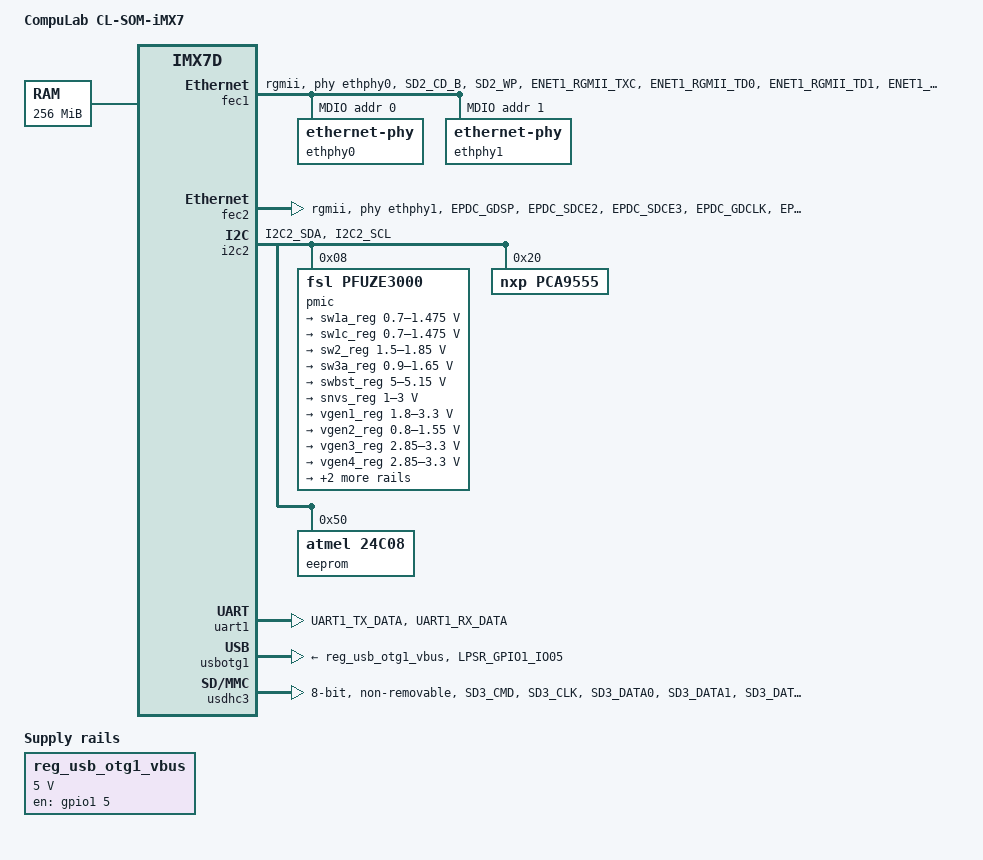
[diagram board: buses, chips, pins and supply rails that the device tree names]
/*
 * Support for CompuLab CL-SOM-iMX7 System-on-Module
 *
 * Copyright (C) 2015 CompuLab Ltd. - http://www.compulab.co.il/
 * Author: Ilya Ledvich <ilya@compulab.co.il>
 *
 * This file is dual-licensed: you can use it either under the terms
 * of the GPL or the X11 license, at your option. Note that this dual
 * licensing only applies to this file, and not this project as a
 * whole.
 */

/dts-v1/;

#include "imx7d.dtsi"

/ {
	model = "CompuLab CL-SOM-iMX7";
	compatible = "compulab,cl-som-imx7", "fsl,imx7d";

	memory {
		reg = <0x80000000 0x10000000>; /* 256 MB - minimal configuration */
	};

	reg_usb_otg1_vbus: regulator-vbus {
		compatible = "regulator-fixed";
		regulator-name = "usb_otg1_vbus";
		regulator-min-microvolt = <5000000>;
		regulator-max-microvolt = <5000000>;
		gpio = <&gpio1 5 GPIO_ACTIVE_HIGH>;
		enable-active-high;
	};
};

&cpu0 {
	arm-supply = <&sw1a_reg>;
};

&fec1 {
	pinctrl-names = "default";
	pinctrl-0 = <&pinctrl_enet1>;
	assigned-clocks = <&clks IMX7D_ENET1_TIME_ROOT_SRC>,
			  <&clks IMX7D_ENET1_TIME_ROOT_CLK>;
	assigned-clock-parents = <&clks IMX7D_PLL_ENET_MAIN_100M_CLK>;
	assigned-clock-rates = <0>, <100000000>;
	phy-mode = "rgmii";
	phy-handle = <&ethphy0>;
	fsl,magic-packet;
	status = "okay";

	mdio {
		#address-cells = <1>;
		#size-cells = <0>;

		ethphy0: ethernet-phy@0 {
			reg = <0>;
		};

		ethphy1: ethernet-phy@1 {
			reg = <1>;
		};
	};
};

&fec2 {
	pinctrl-names = "default";
	pinctrl-0 = <&pinctrl_enet2>;
	assigned-clocks = <&clks IMX7D_ENET2_TIME_ROOT_SRC>,
			  <&clks IMX7D_ENET2_TIME_ROOT_CLK>;
	assigned-clock-parents = <&clks IMX7D_PLL_ENET_MAIN_100M_CLK>;
	assigned-clock-rates = <0>, <100000000>;
	phy-mode = "rgmii";
	phy-handle = <&ethphy1>;
	fsl,magic-packet;
	status = "okay";
};

&i2c2 {
	pinctrl-names = "default";
	pinctrl-0 = <&pinctrl_i2c2>;
	status = "okay";

	pmic: pmic@8 {
		compatible = "fsl,pfuze3000";
		reg = <0x08>;

		regulators {
			sw1a_reg: sw1a {
				regulator-min-microvolt = <700000>;
				regulator-max-microvolt = <1475000>;
				regulator-boot-on;
				regulator-always-on;
				regulator-ramp-delay = <6250>;
			};

			/* use sw1c_reg to align with pfuze100/pfuze200 */
			sw1c_reg: sw1b {
				regulator-min-microvolt = <700000>;
				regulator-max-microvolt = <1475000>;
				regulator-boot-on;
				regulator-always-on;
				regulator-ramp-delay = <6250>;
			};

			sw2_reg: sw2 {
				regulator-min-microvolt = <1500000>;
				regulator-max-microvolt = <1850000>;
				regulator-boot-on;
				regulator-always-on;
			};

			sw3a_reg: sw3 {
				regulator-min-microvolt = <900000>;
				regulator-max-microvolt = <1650000>;
				regulator-boot-on;
				regulator-always-on;
			};

			swbst_reg: swbst {
				regulator-min-microvolt = <5000000>;
				regulator-max-microvolt = <5150000>;
			};

			snvs_reg: vsnvs {
				regulator-min-microvolt = <1000000>;
				regulator-max-microvolt = <3000000>;
				regulator-boot-on;
				regulator-always-on;
			};

			vref_reg: vrefddr {
				regulator-boot-on;
				regulator-always-on;
			};

			vgen1_reg: vldo1 {
				regulator-min-microvolt = <1800000>;
				regulator-max-microvolt = <3300000>;
				regulator-always-on;
			};

			vgen2_reg: vldo2 {
				regulator-min-microvolt = <800000>;
				regulator-max-microvolt = <1550000>;
			};

			vgen3_reg: vccsd {
				regulator-min-microvolt = <2850000>;
				regulator-max-microvolt = <3300000>;
				regulator-always-on;
			};

			vgen4_reg: v33 {
				regulator-min-microvolt = <2850000>;
				regulator-max-microvolt = <3300000>;
				regulator-always-on;
			};

			vgen5_reg: vldo3 {
				regulator-min-microvolt = <1800000>;
				regulator-max-microvolt = <3300000>;
				regulator-always-on;
			};

			vgen6_reg: vldo4 {
				regulator-min-microvolt = <1800000>;
				regulator-max-microvolt = <3300000>;
				regulator-always-on;
			};
		};
	};

	pca9555: pca9555@20 {
		compatible = "nxp,pca9555";
		gpio-controller;
		#gpio-cells = <2>;
		reg = <0x20>;
	};

	eeprom@50 {
		compatible = "atmel,24c08";
		reg = <0x50>;
		pagesize = <16>;
	};
};

&uart1 {
	pinctrl-names = "default";
	pinctrl-0 = <&pinctrl_uart1>;
	assigned-clocks = <&clks IMX7D_UART1_ROOT_SRC>;
	assigned-clock-parents = <&clks IMX7D_PLL_SYS_MAIN_240M_CLK>;
	status = "okay";
};

&usbotg1 {
	pinctrl-names = "default";
	pinctrl-0 = <&pinctrl_usbotg1>;
	vbus-supply = <&reg_usb_otg1_vbus>;
	status = "okay";
};

&usdhc3 {
	pinctrl-names = "default";
	pinctrl-0 = <&pinctrl_usdhc3>;
	assigned-clocks = <&clks IMX7D_USDHC3_ROOT_CLK>;
	assigned-clock-rates = <400000000>;
	bus-width = <8>;
	fsl,tuning-step = <2>;
	non-removable;
	status = "okay";
};

&iomuxc {
	pinctrl_enet1: enet1grp {
		fsl,pins = <
			MX7D_PAD_SD2_CD_B__ENET1_MDIO			0x3
			MX7D_PAD_SD2_WP__ENET1_MDC			0x3
			MX7D_PAD_ENET1_RGMII_TXC__ENET1_RGMII_TXC	0x1
			MX7D_PAD_ENET1_RGMII_TD0__ENET1_RGMII_TD0	0x1
			MX7D_PAD_ENET1_RGMII_TD1__ENET1_RGMII_TD1	0x1
			MX7D_PAD_ENET1_RGMII_TD2__ENET1_RGMII_TD2	0x1
			MX7D_PAD_ENET1_RGMII_TD3__ENET1_RGMII_TD3	0x1
			MX7D_PAD_ENET1_RGMII_TX_CTL__ENET1_RGMII_TX_CTL	0x1
			MX7D_PAD_ENET1_RGMII_RXC__ENET1_RGMII_RXC	0x1
			MX7D_PAD_ENET1_RGMII_RD0__ENET1_RGMII_RD0	0x1
			MX7D_PAD_ENET1_RGMII_RD1__ENET1_RGMII_RD1	0x1
			MX7D_PAD_ENET1_RGMII_RD2__ENET1_RGMII_RD2	0x1
			MX7D_PAD_ENET1_RGMII_RD3__ENET1_RGMII_RD3	0x1
			MX7D_PAD_ENET1_RGMII_RX_CTL__ENET1_RGMII_RX_CTL	0x1
		>;
	};

	pinctrl_enet2: enet2grp {
		fsl,pins = <
			MX7D_PAD_EPDC_GDSP__ENET2_RGMII_TXC		0x1
			MX7D_PAD_EPDC_SDCE2__ENET2_RGMII_TD0		0x1
			MX7D_PAD_EPDC_SDCE3__ENET2_RGMII_TD1		0x1
			MX7D_PAD_EPDC_GDCLK__ENET2_RGMII_TD2		0x1
			MX7D_PAD_EPDC_GDOE__ENET2_RGMII_TD3		0x1
			MX7D_PAD_EPDC_GDRL__ENET2_RGMII_TX_CTL		0x1
			MX7D_PAD_EPDC_SDCE1__ENET2_RGMII_RXC		0x1
			MX7D_PAD_EPDC_SDCLK__ENET2_RGMII_RD0		0x1
			MX7D_PAD_EPDC_SDLE__ENET2_RGMII_RD1		0x1
			MX7D_PAD_EPDC_SDOE__ENET2_RGMII_RD2		0x1
			MX7D_PAD_EPDC_SDSHR__ENET2_RGMII_RD3		0x1
			MX7D_PAD_EPDC_SDCE0__ENET2_RGMII_RX_CTL		0x1
		>;
	};

	pinctrl_i2c2: i2c2grp {
		fsl,pins = <
			MX7D_PAD_I2C2_SDA__I2C2_SDA		0x4000007f
			MX7D_PAD_I2C2_SCL__I2C2_SCL		0x4000007f
		>;
	};

	pinctrl_uart1: uart1grp {
		fsl,pins = <
			MX7D_PAD_UART1_TX_DATA__UART1_DCE_TX	0x79
			MX7D_PAD_UART1_RX_DATA__UART1_DCE_RX	0x79
		>;
	};

	pinctrl_usdhc3: usdhc3grp {
		fsl,pins = <
			MX7D_PAD_SD3_CMD__SD3_CMD		0x59
			MX7D_PAD_SD3_CLK__SD3_CLK		0x19
			MX7D_PAD_SD3_DATA0__SD3_DATA0		0x59
			MX7D_PAD_SD3_DATA1__SD3_DATA1		0x59
			MX7D_PAD_SD3_DATA2__SD3_DATA2		0x59
			MX7D_PAD_SD3_DATA3__SD3_DATA3		0x59
			MX7D_PAD_SD3_DATA4__SD3_DATA4		0x59
			MX7D_PAD_SD3_DATA5__SD3_DATA5		0x59
			MX7D_PAD_SD3_DATA6__SD3_DATA6		0x59
			MX7D_PAD_SD3_DATA7__SD3_DATA7		0x59
			MX7D_PAD_SD3_STROBE__SD3_STROBE		0x19
		>;
	};
};

&iomuxc_lpsr {
	pinctrl_usbotg1: usbotg1grp {
		fsl,pins = <
			MX7D_PAD_LPSR_GPIO1_IO05__GPIO1_IO5	0x14 /* OTG PWREN */
		>;
	};
};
